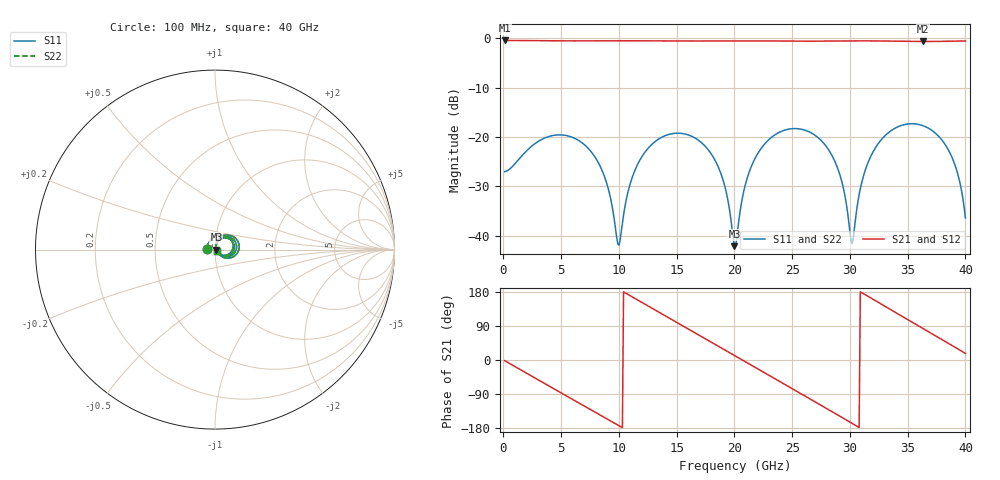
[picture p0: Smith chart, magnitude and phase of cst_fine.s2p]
! thru_BV_vna_rf_hblb1_in: 2×thru F.Cu, 8 mm
! stackup: as the board case
! ports: 1 near, 2 far
! CST Studio Suite 2025.5 Release from 2025-05-30, time domain (FIT, hexahedral, PBA), 543004 mesh cells, 84 s
! mesh: {'lpw': 30.0, 'lpb': 30.0, 'minstep': 0.0, 'ratio': 20}; ports: port 1 (face); port 2 (face)
! interpolated from CST's 1001 samples to the case grid
# Hz S RI R 50
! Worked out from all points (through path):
!   400 points, 100 MHz to 40 GHz, reference 50 ohm
!   highest |S21| = -0.40 dB at 100 MHz (marker M1); lowest = -0.6 dB at 36.3 GHz (marker M2)
!   group delay of S21, straight-line fit = 48.7 ps
!   lowest |S11| = -42.1 dB at 20 GHz (marker M3), VSWR 1.02, Z = 50.8 + j0.0517 ohm
!   |S11| at or under -10 dB: start of sweep to end of sweep
!   |S22| runs from -42.1 to -17.3 dB; largest |S21 - S12| = 4.5e-07
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1e8  -0.0443 0.00448  0.9541 -0.0291  0.9541 -0.0291  -0.0443 0.00448
3.7e9  0.066 0.074  0.4092 -0.855  0.4092 -0.855  0.066 0.074
6.8e9  0.0857 -0.0179  -0.4415 -0.835  -0.4415 -0.835  0.0857 -0.0179
8.8e9  0.0287 -0.0253  -0.8394 -0.4375  -0.8394 -0.4375  0.0287 -0.0253
1e10  0.00739 0.00306  -0.9414 -0.1097  -0.9414 -0.1097  0.00739 0.00306
1.12e10  0.0118 0.0387  -0.9185 0.234  -0.9185 0.234  0.0118 0.0387
1.34e10  0.071 0.0628  -0.5733 0.7514  -0.5733 0.7514  0.071 0.0628
1.56e10  0.1077 0.00984  0.0142 0.9425  0.0142 0.9425  0.1077 0.00984
1.79e10  0.0596 -0.0366  0.6175 0.7139  0.6175 0.7139  0.0596 -0.0366
1.92e10  0.0214 -0.0219  0.8471 0.4203  0.8471 0.4203  0.0214 -0.0219
2e10  0.0078 0.000509  0.9246 0.2019  0.9246 0.2019  0.0078 0.000509
2.01e10  0.00693 0.00374  0.9304 0.1734  0.9304 0.1734  0.00693 0.00374
2.09e10  0.00724 0.0305  0.9447 -0.0586  0.9447 -0.0586  0.00724 0.0305
2.22e10  0.0339 0.0651  0.8459 -0.4217  0.8459 -0.4217  0.0339 0.0651
2.67e10  0.1074 -0.0205  -0.2505 -0.9045  -0.2505 -0.9045  0.1074 -0.0205
2.89e10  0.0362 -0.034  -0.7652 -0.5504  -0.7652 -0.5504  0.0362 -0.034
3.02e10  0.00782 0.00289  -0.9226 -0.2052  -0.9226 -0.2052  0.00782 0.00289
3.13e10  0.0116 0.0436  -0.9379 0.1185  -0.9379 0.1185  0.0116 0.0436
3.34e10  0.0791 0.0798  -0.6659 0.6637  -0.6659 0.6637  0.0791 0.0798
3.63e10  0.1305 -0.00746  0.1037 0.926  0.1037 0.926  0.1305 -0.00746
3.88e10  0.0469 -0.0433  0.7283 0.5917  0.7283 0.5917  0.0469 -0.0433
4e10  0.0121 -0.00917  0.9007 0.2806  0.9007 0.2806  0.0121 -0.00917
